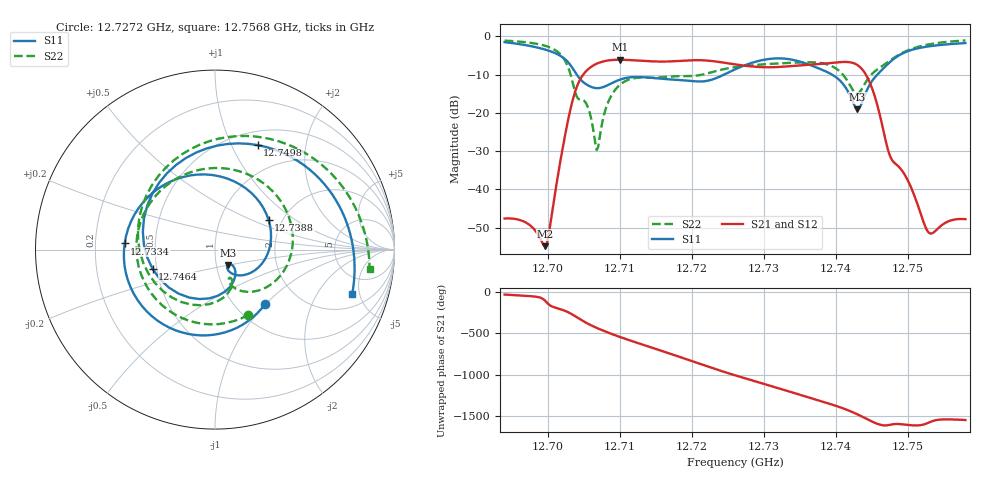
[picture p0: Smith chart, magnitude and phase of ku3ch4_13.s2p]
#  HZ  S  RI  R  50.00
! Rohde & Schwarz ZVA50 2Ports - Version 3.70 - 1145.1110k50 SN: 100192
! Date: 2025-10-24 10:53:19
! Measurements: S11 S21 S12 S22
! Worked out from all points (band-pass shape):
!   321 points, 12.694 GHz to 12.758 GHz, reference 50 ohm
!   highest |S21| = -6.12 dB at 12.71 GHz (marker M1); lowest = -54.9 dB at 12.6996 GHz (marker M2)
!   |S21| within 3 dB of the highest: 12.70531 GHz to 12.74386 GHz (38.55 MHz wide, 0.303 % of centre)
!   lowest |S11| = -19.1 dB at 12.743 GHz (marker M3), VSWR 1.25, Z = 56.7 - j9.83 ohm
!   |S11| at or under -10 dB: 12.70402 GHz to 12.72449 GHz (20.47 MHz wide, 0.161 % of centre); 12.73946 GHz to 12.74578 GHz (6.31 MHz wide, 0.0495 % of centre)
!   |S22| runs from -29.7 to -1.1 dB; largest |S21 - S12| = 0.0086
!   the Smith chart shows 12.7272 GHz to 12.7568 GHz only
!   S11 on the Smith chart (normalised r, x): 12.7272 GHz: 1.35, -0.99; 12.7334 GHz: 0.33, +0.03; 12.7388 GHz: 1.70, +0.63; 12.7464 GHz: 0.48, -0.12; 12.7498 GHz: 0.66, +1.27; 12.7568 GHz: 3.02, -4.24
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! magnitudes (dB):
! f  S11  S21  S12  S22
! 12.694 GHz  -1.5  -47.6  -47.5  -1.1
! 12.6996 GHz  -3.4  -54.9  -54.8  -2.5
! 12.703 GHz  -7.2  -20.3  -20.2  -9.0
! 12.7048 GHz  -11.8  -10.3  -10.2  -16.6
! 12.7058 GHz  -13.0  -8.3  -8.2  -19.9
! 12.7068 GHz  -13.6  -7.1  -7.0  -29.7
! 12.7082 GHz  -12.9  -6.4  -6.3  -18.1
! 12.71 GHz  -11.3  -6.1  -6.0  -12.7
! 12.7154 GHz  -11.0  -6.6  -6.5  -10.7
! 12.726 GHz  -8.6  -7.3  -7.2  -8.1
! 12.7272 GHz  -7.7  -7.6  -7.5  -7.8
! 12.7334 GHz  -5.9  -7.8  -7.7  -7.0
! 12.7368 GHz  -7.8  -7.4  -7.3  -6.8
! 12.7388 GHz  -9.3  -7.1  -7.0  -7.3
! 12.743 GHz  -19.1  -7.5  -7.4  -15.0
! 12.7448 GHz  -12.4  -12.4  -12.3  -10.3
! 12.7464 GHz  -8.8  -22.8  -22.7  -7.8
! 12.7474 GHz  -6.9  -30.6  -30.5  -6.5
! 12.7498 GHz  -4.0  -36.9  -36.8  -3.8
! 12.753 GHz  -2.6  -51.5  -51.4  -2.1
! 12.7568 GHz  -1.9  -47.8  -47.7  -1.2
! 12.758 GHz  -1.8  -47.8  -47.7  -1.1
